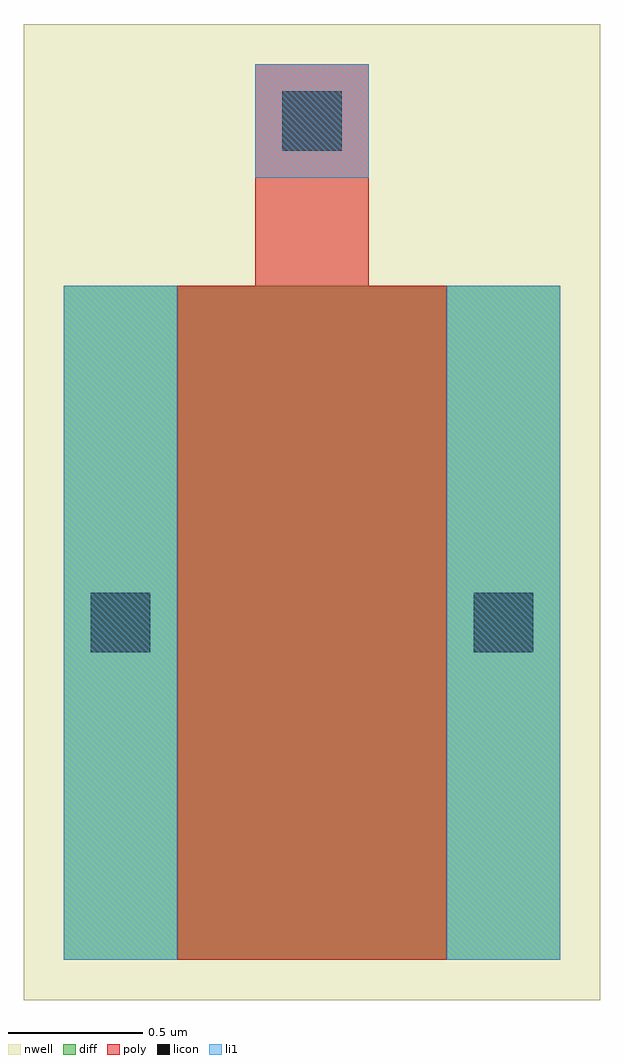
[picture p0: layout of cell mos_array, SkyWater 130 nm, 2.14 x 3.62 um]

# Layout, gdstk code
import gdstk
lib = gdstk.Library(unit=1e-6, precision=1e-09)
def R(c, l, rs):  # rectangles x0, y0, x1, y1
    for r in rs: c.add(gdstk.rectangle(r[:2], r[2:], *l))
nwell = (64, 20)
diff = (65, 20)
poly = (66, 20)
licon = (66, 44)
li1 = (67, 20)

mos_array = lib.new_cell('mos_array')
R(mos_array, nwell, [(-0.15,-0.15,1.99,3.47)])
R(mos_array, diff, [(0,0,1.84,2.5)])
R(mos_array, poly, [(0.42,0,1.42,2.5), (0.71,2.5,1.13,3.32)])
R(mos_array, licon, [(0.1,1.14,0.32,1.36), (1.52,1.14,1.74,1.36), (0.81,3,1.03,3.22)])
R(mos_array, li1, [(0,0,0.42,2.5), (1.42,0,1.84,2.5), (0.71,2.9,1.13,3.32)])

lib.write_gds('mos_array.gds')
